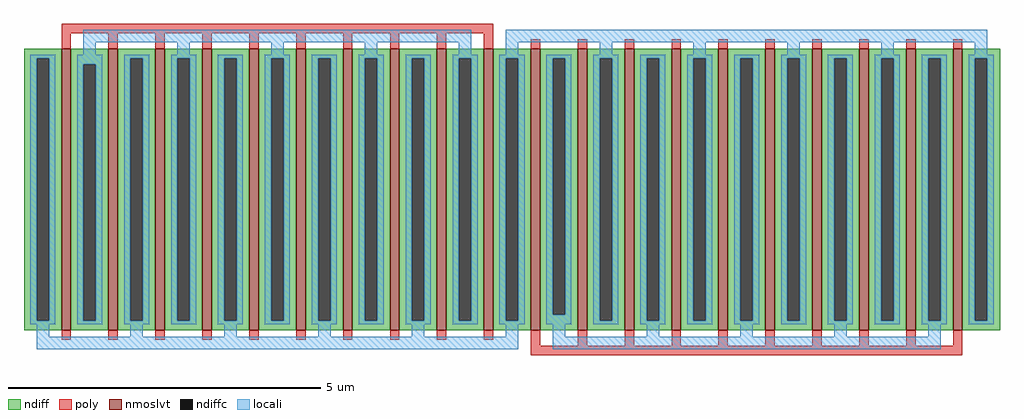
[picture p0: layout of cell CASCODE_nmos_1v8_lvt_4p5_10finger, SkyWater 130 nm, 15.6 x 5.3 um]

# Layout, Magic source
magic
tech sky130A
<< nmoslvt >>
rect -620 225 -605 675
rect -545 225 -530 675
rect -470 225 -455 675
rect -395 225 -380 675
rect -320 225 -305 675
rect -245 225 -230 675
rect -170 225 -155 675
rect -95 225 -80 675
rect -20 225 -5 675
rect 55 225 70 675
rect 130 225 145 675
rect 205 225 220 675
rect 280 225 295 675
rect 355 225 370 675
rect 430 225 445 675
rect 505 225 520 675
rect 580 225 595 675
rect 655 225 670 675
rect 730 225 745 675
rect 805 225 820 675
<< ndiff >>
rect -680 660 -620 675
rect -680 240 -660 660
rect -640 240 -620 660
rect -680 225 -620 240
rect -605 650 -545 675
rect -605 240 -585 650
rect -565 240 -545 650
rect -605 225 -545 240
rect -530 660 -470 675
rect -530 240 -510 660
rect -490 240 -470 660
rect -530 225 -470 240
rect -455 660 -395 675
rect -455 240 -435 660
rect -415 240 -395 660
rect -455 225 -395 240
rect -380 660 -320 675
rect -380 240 -360 660
rect -340 240 -320 660
rect -380 225 -320 240
rect -305 660 -245 675
rect -305 240 -285 660
rect -265 240 -245 660
rect -305 225 -245 240
rect -230 660 -170 675
rect -230 240 -210 660
rect -190 240 -170 660
rect -230 225 -170 240
rect -155 660 -95 675
rect -155 240 -135 660
rect -115 240 -95 660
rect -155 225 -95 240
rect -80 660 -20 675
rect -80 240 -60 660
rect -40 240 -20 660
rect -80 225 -20 240
rect -5 660 55 675
rect -5 240 15 660
rect 35 240 55 660
rect -5 225 55 240
rect 70 660 130 675
rect 70 240 90 660
rect 110 240 130 660
rect 70 225 130 240
rect 145 660 205 675
rect 145 250 165 660
rect 185 250 205 660
rect 145 225 205 250
rect 220 660 280 675
rect 220 240 240 660
rect 260 240 280 660
rect 220 225 280 240
rect 295 660 355 675
rect 295 240 315 660
rect 335 240 355 660
rect 295 225 355 240
rect 370 660 430 675
rect 370 240 390 660
rect 410 240 430 660
rect 370 225 430 240
rect 445 660 505 675
rect 445 240 465 660
rect 485 240 505 660
rect 445 225 505 240
rect 520 660 580 675
rect 520 240 540 660
rect 560 240 580 660
rect 520 225 580 240
rect 595 660 655 675
rect 595 240 615 660
rect 635 240 655 660
rect 595 225 655 240
rect 670 660 730 675
rect 670 240 690 660
rect 710 240 730 660
rect 670 225 730 240
rect 745 660 805 675
rect 745 240 765 660
rect 785 240 805 660
rect 745 225 805 240
rect 820 660 880 675
rect 820 240 840 660
rect 860 240 880 660
rect 820 225 880 240
<< ndiffc >>
rect -660 240 -640 660
rect -585 240 -565 650
rect -510 240 -490 660
rect -435 240 -415 660
rect -360 240 -340 660
rect -285 240 -265 660
rect -210 240 -190 660
rect -135 240 -115 660
rect -60 240 -40 660
rect 15 240 35 660
rect 90 240 110 660
rect 165 250 185 660
rect 240 240 260 660
rect 315 240 335 660
rect 390 240 410 660
rect 465 240 485 660
rect 540 240 560 660
rect 615 240 635 660
rect 690 240 710 660
rect 765 240 785 660
rect 840 240 860 660
<< poly >>
rect -620 700 70 715
rect -620 675 -605 700
rect -545 675 -530 700
rect -470 675 -455 700
rect -395 675 -380 700
rect -320 675 -305 700
rect -245 675 -230 700
rect -170 675 -155 700
rect -95 675 -80 700
rect -20 675 -5 700
rect 55 675 70 700
rect 130 675 145 690
rect 205 675 220 690
rect 280 675 295 690
rect 355 675 370 690
rect 430 675 445 690
rect 505 675 520 690
rect 580 675 595 690
rect 655 675 670 690
rect 730 675 745 690
rect 805 675 820 690
rect -620 210 -605 225
rect -545 210 -530 225
rect -470 210 -455 225
rect -395 210 -380 225
rect -320 210 -305 225
rect -245 210 -230 225
rect -170 210 -155 225
rect -95 210 -80 225
rect -20 210 -5 225
rect 55 210 70 225
rect 130 200 145 225
rect 205 200 220 225
rect 280 200 295 225
rect 355 200 370 225
rect 430 200 445 225
rect 505 200 520 225
rect 580 200 595 225
rect 655 200 670 225
rect 730 200 745 225
rect 805 200 820 225
rect 130 185 820 200
<< locali >>
rect -585 685 35 705
rect -585 665 -565 685
rect -435 665 -415 685
rect -285 665 -265 685
rect -135 665 -115 685
rect 15 665 35 685
rect 90 685 860 705
rect 90 665 110 685
rect 240 665 260 685
rect 390 665 410 685
rect 540 665 560 685
rect 690 665 710 685
rect 840 665 860 685
rect -670 660 -630 665
rect -670 240 -660 660
rect -640 240 -630 660
rect -670 235 -630 240
rect -595 650 -555 665
rect -595 240 -585 650
rect -565 240 -555 650
rect -595 235 -555 240
rect -520 660 -480 665
rect -520 240 -510 660
rect -490 240 -480 660
rect -520 235 -480 240
rect -445 660 -405 665
rect -445 240 -435 660
rect -415 240 -405 660
rect -445 235 -405 240
rect -370 660 -330 665
rect -370 240 -360 660
rect -340 240 -330 660
rect -370 235 -330 240
rect -295 660 -255 665
rect -295 240 -285 660
rect -265 240 -255 660
rect -295 235 -255 240
rect -220 660 -180 665
rect -220 240 -210 660
rect -190 240 -180 660
rect -220 235 -180 240
rect -145 660 -105 665
rect -145 240 -135 660
rect -115 240 -105 660
rect -145 235 -105 240
rect -70 660 -30 665
rect -70 240 -60 660
rect -40 240 -30 660
rect -70 235 -30 240
rect 5 660 45 665
rect 5 240 15 660
rect 35 240 45 660
rect 5 235 45 240
rect 80 660 120 665
rect 80 240 90 660
rect 110 240 120 660
rect 80 235 120 240
rect 155 660 195 665
rect 155 250 165 660
rect 185 250 195 660
rect 155 235 195 250
rect 230 660 270 665
rect 230 240 240 660
rect 260 240 270 660
rect 230 235 270 240
rect 305 660 345 665
rect 305 240 315 660
rect 335 240 345 660
rect 305 235 345 240
rect 380 660 420 665
rect 380 240 390 660
rect 410 240 420 660
rect 380 235 420 240
rect 455 660 495 665
rect 455 240 465 660
rect 485 240 495 660
rect 455 235 495 240
rect 530 660 570 665
rect 530 240 540 660
rect 560 240 570 660
rect 530 235 570 240
rect 605 660 645 665
rect 605 240 615 660
rect 635 240 645 660
rect 605 235 645 240
rect 680 660 720 665
rect 680 240 690 660
rect 710 240 720 660
rect 680 235 720 240
rect 755 660 795 665
rect 755 240 765 660
rect 785 240 795 660
rect 755 235 795 240
rect 830 660 870 665
rect 830 240 840 660
rect 860 240 870 660
rect 830 235 870 240
rect -660 215 -640 235
rect -510 215 -490 235
rect -360 215 -340 235
rect -210 215 -190 235
rect -60 215 -40 235
rect 90 215 110 235
rect -660 195 110 215
rect 165 215 185 235
rect 315 215 335 235
rect 465 215 485 235
rect 615 215 635 235
rect 765 215 785 235
rect 165 195 785 215
<< end >>
